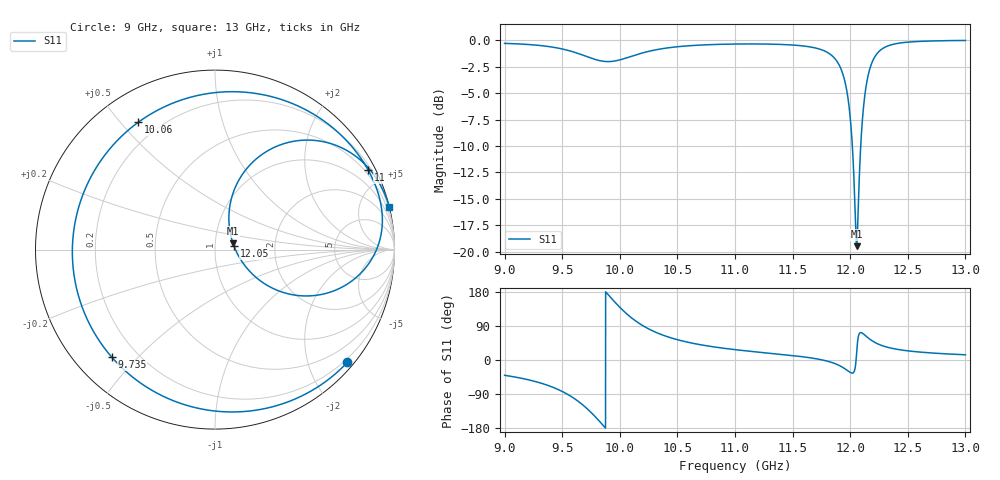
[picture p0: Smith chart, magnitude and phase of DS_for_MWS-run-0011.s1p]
! TOUCHSTONE file generated by CST DESIGN STUDIO
! Date and time: Tue Feb  4 18:15:44 2025
! Project name: C:\Work\MatlabApps\UnitCellOptimizationMatlab\CST\unitcell.cst
! Tree item: Tasks\Sweep1\SPara1\S-Parameters
! Header version: 2024
! Port assignment regex: !\s*Touchstone port\s*([0-9]+)\s*=\s*(CST MWS port|CST DES external port|CST DES block port)\s*(.+)\s* \(\"(.*)\"\)(\s*mode\s*([0-9]+))?.*
! Touchstone port assignment:
! Touchstone port 1 = CST DES external port 1 ("")
# GHz S MA R 50
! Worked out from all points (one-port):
!   4001 points, 9 GHz to 13 GHz, reference 50 ohm
!   lowest |S11| = -19.5 dB at 12.06 GHz (marker M1), VSWR 1.24, Z = 60.9 + j4.34 ohm
!   |S11| at or under -10 dB: 12.02 GHz to 12.09 GHz (72.63 MHz wide, 0.602 % of centre)
!   S11 on the Smith chart (normalised r, x): 9 GHz: 0.13, -2.71; 9.735 GHz: 0.11, -0.42; 10.06 GHz: 0.12, +0.56; 11 GHz: 0.35, +4.07; 12.05 GHz: 1.23, +0.05; 13 GHz: -0.00, +8.30
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9  0.9688 -40.4
9.281  0.9496 -58.0
9.5  0.9113 -83.0
9.628  0.8715 -106.6
9.735  0.8305 -133.9
9.806  0.8071 -155.9
9.869  0.7954 -177.3
9.931  0.7958 161.4
10  0.809 139.1
10.063  0.8284 121.0
10.227  0.8816 85.8
10.356  0.9119 67.7
10.5  0.9338 53.6
10.715  0.9519 39.5
10.997  0.9616 27.4
11  0.9617 27.3
11.5  0.9514 11.7
11.845  0.8444 -7.0
11.929  0.7122 -18.4
12  0.4326 -32.7
12.054  0.1072 11.1
12.056  0.106 19.4
12.068  0.1491 57.6
12.113  0.4669 69.3
12.171  0.736 54.7
12.295  0.9248 36.1
12.5  0.9818 24.1
13  1 13.7
